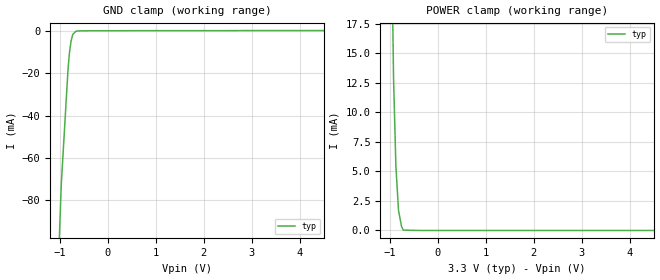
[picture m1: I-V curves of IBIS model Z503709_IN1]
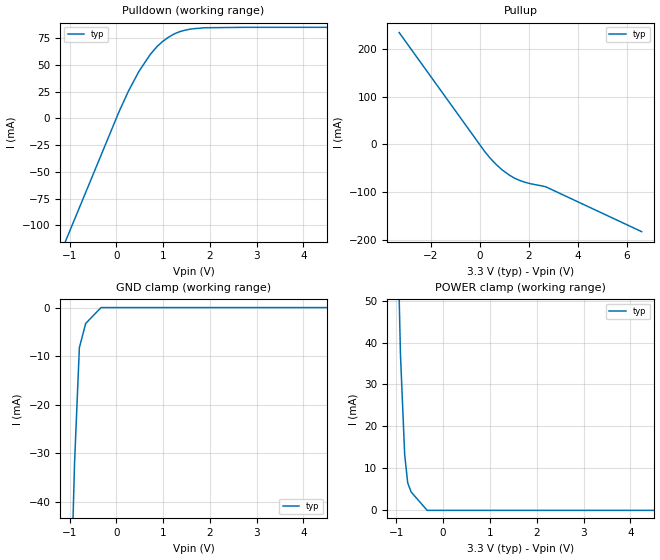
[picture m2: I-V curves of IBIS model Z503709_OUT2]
| YOU ARE ONLY AUTHORIZED TO USE THIS SOFTWARE
| ACCORDING TO LICENSOR'S LICENSE RESTRICTIONS.
[IBIS Ver] 3.1
[File Name] mc74ac08n_33.ibs
[File Rev] 2.0
[Source] Measured and created by ICX Technology
[Date] Friday 7/14/00 9:07:58 AM
[Copyright]
| (C) COPYRIGHT 1993-2000
| MENTOR GRAPHICS CORPORATION
| ICX STANDARD LIBRARY, ICX PROJECT MODELING,
| ICX CUSTOM MODELING, ICX VENDOR MODEL
| ALL RIGHTS RESERVED.
| THE FOLLOWING ARE TRADEMARKS OR SERVICE MARKS OF
| MENTOR GRAPHICS CORPORATION:ICX (R), ICX STANDARD
| LIBRARY(R), ICX PROJECT MODELING(R), ICX CUSTOM
| MODELING(R), qualityIBIS(TM), MODELVIEWER(TM),
| AND MODELEDITOR(TM)
| ALL COPIES OF SOFTWARE, INCLUDING BUT NOT LIMITED TO
| ANY MODIFICATIONS, ENHANCEMENTS OR DERIVATIVE WORKS,
| MUST CONTAIN ALL MENTOR GRAPHICS CORPORATION'S
| NOTICES AND LEGENDS, INCLUDING THOSE EMBEDDED IN
| SOFTWARE AND THOSE AFFIXED TO SOFTWARE MEDIUM
| AND CONTAINER, AS RECEIVED FROM MENTOR GRAPHICS
| CORPORATION.
|  ZAP Model Builder 2.7
[Component] MC74AC08N_33
[Manufacturer] OnSemiconductor
[Package]
| variable   typ   min   max
R_pkg  .21ohms NA NA
L_pkg  4.543nH NA NA
C_pkg  1.059pF NA NA
[Pin] signal_name  model_name  R_pin  L_pin C_pin
1 A0 Z503709_IN1 .22 6.757n 1.432p
2 B0 Z503709_IN1 .212 4.757n 1.142p
3 Y0 Z503709_OUT2 .204 3.257n .852p
4 A1 Z503709_IN1 .196 2.257n .562p
5 B1 Z503709_IN1 .204 3.257n .852p
6 Y1 Z503709_OUT2 .212 4.757n 1.142p
7 GND GND .22 6.757n 1.432p
8 Y3 Z503709_OUT2 .22 6.757n 1.432p
9 A3 Z503709_IN1 .212 4.757n 1.142p
10 B3 Z503709_IN1 .204 3.257n .852p
11 Y2 Z503709_OUT2 .196 2.257n .562p
12 A2 Z503709_IN1 .204 3.257n .852p
13 B2 Z503709_IN1 .212 4.757n 1.142p
14 VCC POWER .22 6.757n 1.432p
| Models and submodels in the file (2): Z503709_IN1 (Input), Z503709_OUT2 (Output)
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| (C) COPYRIGHT 1993-2000
| MENTOR GRAPHICS CORPORATION
| ICX STANDARD LIBRARY, ICX PROJECT MODELING,
| ICX CUSTOM MODELING, ICX VENDOR MODEL
| ALL RIGHTS RESERVED.
| THE FOLLOWING ARE TRADEMARKS OR SERVICE MARKS OF
| MENTOR GRAPHICS CORPORATION:ICX (R), ICX STANDARD
| LIBRARY(R), ICX PROJECT MODELING(R), ICX CUSTOM
| MODELING(R), qualityIBIS(TM), MODELVIEWER(TM),
| AND MODELEDITOR(TM)
| ALL COPIES OF SOFTWARE, INCLUDING BUT NOT LIMITED TO
| ANY MODIFICATIONS, ENHANCEMENTS OR DERIVATIVE WORKS,
| MUST CONTAIN ALL MENTOR GRAPHICS CORPORATION'S
| NOTICES AND LEGENDS, INCLUDING THOSE EMBEDDED IN
| SOFTWARE AND THOSE AFFIXED TO SOFTWARE MEDIUM
| AND CONTAINER, AS RECEIVED FROM MENTOR GRAPHICS
| CORPORATION.
| Model Application Version 1.89 2/18/99.
[Model] Z503709_IN1
Model_type Input
Vinl = 990.0mV
Vinh = 2.310V
C_comp 4.000pF NA NA
| variable typ   min   max
[Voltage Range] 3.300V NA NA
[GND Clamp Reference] 0.000V NA NA
[POWER Clamp Reference] 3.300V NA NA
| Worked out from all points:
|   GND clamp passes 1 mA (typ) near -0.71 V on its own axis
|   POWER clamp passes 1 mA (typ) near -0.79 V on its own axis
[GND Clamp]
-3.3V     -1.301A    NA         NA
-1.231V   -236.3mA   NA         NA
-970.7mV  -72.62mA   NA         NA
-830.1mV  -18.02mA   NA         NA
-799.9mV  -10.19mA   NA         NA
-766.6mV  -4.69mA    NA         NA
-731.9mV  -1.604mA   NA         NA
-668.2mV  -96.87uA   NA         NA
6.6V      276.8uA    NA         NA
[POWER Clamp]
-3.3V     1.475A     NA         NA
-1.134V   98.4mA     NA         NA
-1.016V   41.23mA    NA         NA
-924mV    13.02mA    NA         NA
-875mV    5.481mA    NA         NA
-820mV    1.707mA    NA         NA
-758mV    348.2uA    NA         NA
-719mV    29.4uA     NA         NA
-359.5mV  0A         NA         NA
6.6V      0A         NA         NA
| (C) COPYRIGHT 1993-2000
| MENTOR GRAPHICS CORPORATION
| ICX STANDARD LIBRARY, ICX PROJECT MODELING,
| ICX CUSTOM MODELING, ICX VENDOR MODEL
| ALL RIGHTS RESERVED.
| THE FOLLOWING ARE TRADEMARKS OR SERVICE MARKS OF
| MENTOR GRAPHICS CORPORATION:ICX (R), ICX STANDARD
| LIBRARY(R), ICX PROJECT MODELING(R), ICX CUSTOM
| MODELING(R), qualityIBIS(TM), MODELVIEWER(TM),
| AND MODELEDITOR(TM)
| ALL COPIES OF SOFTWARE, INCLUDING BUT NOT LIMITED TO
| ANY MODIFICATIONS, ENHANCEMENTS OR DERIVATIVE WORKS,
| MUST CONTAIN ALL MENTOR GRAPHICS CORPORATION'S
| NOTICES AND LEGENDS, INCLUDING THOSE EMBEDDED IN
| SOFTWARE AND THOSE AFFIXED TO SOFTWARE MEDIUM
| AND CONTAINER, AS RECEIVED FROM MENTOR GRAPHICS
| CORPORATION.
| Model Application Version 1.89 2/18/99.
[Model] Z503709_OUT2
Model_type Output
Vref=0.000V
Rref=500.0ohms
Cref=50.00pF
Vmeas=1.650V
C_comp 8.000pF NA NA
| variable typ   min   max
[Voltage Range] 3.300V NA NA
[POWER Clamp Reference] 3.300V NA NA
[Pullup Reference] 3.300V NA NA
[Pulldown Reference] 0.000V NA NA
[GND Clamp Reference] 0.000V NA NA
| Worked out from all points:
|   slope of the pulldown table from 0 to 0.495 V, typ, clamps not added: 11.1 ohm
|   slope of the pullup table from 0 to 0.495 V, typ, clamps not added: 15.5 ohm
[GND Clamp]
-3.3V     -758.2mA   NA         NA
-1.104V   -107.2mA   NA         NA
-892.7mV  -32.17mA   NA         NA
-789.4mV  -8.266mA   NA         NA
-654.3mV  -3.284mA   NA         NA
-327.1mV  0A         NA         NA
6.6V      0A         NA         NA
[Pulldown]
-3.3V     -349.4mA   NA         NA
59.51mV   6.408mA    NA         NA
258.8mV   25.45mA    NA         NA
478.5mV   43.59mA    NA         NA
722.7mV   59.64mA    NA         NA
869.3mV   67.13mA    NA         NA
987.3mV   71.84mA    NA         NA
1.24V     79.05mA    NA         NA
1.475V    82.56mA    NA         NA
1.914V    84.79mA    NA         NA
6.6V      85.18mA    NA         NA
[Pullup]
-3.3V     234.1mA    NA         NA
180mV     -14.16mA   NA         NA
556mV     -36.6mA    NA         NA
917mV     -54mA      NA         NA
1.416V    -70.97mA   NA         NA
1.826V    -79.22mA   NA         NA
2.68V     -88.75mA   NA         NA
6.6V      -182.8mA   NA         NA
[POWER Clamp]
-3.3V     1.418A     NA         NA
-1.075V   115.7mA    NA         NA
-913mV    37.18mA    NA         NA
-823mV    13.32mA    NA         NA
-758mV    6.552mA    NA         NA
-684mV    4.371mA    NA         NA
-342mV    0A         NA         NA
6.6V      0A         NA         NA
[Ramp]
| variable typ min max
dV/dt_r 1.937/717.1p NA NA
dV/dt_f 1.937/732.3p NA NA
R_load = 500.0Ohms
